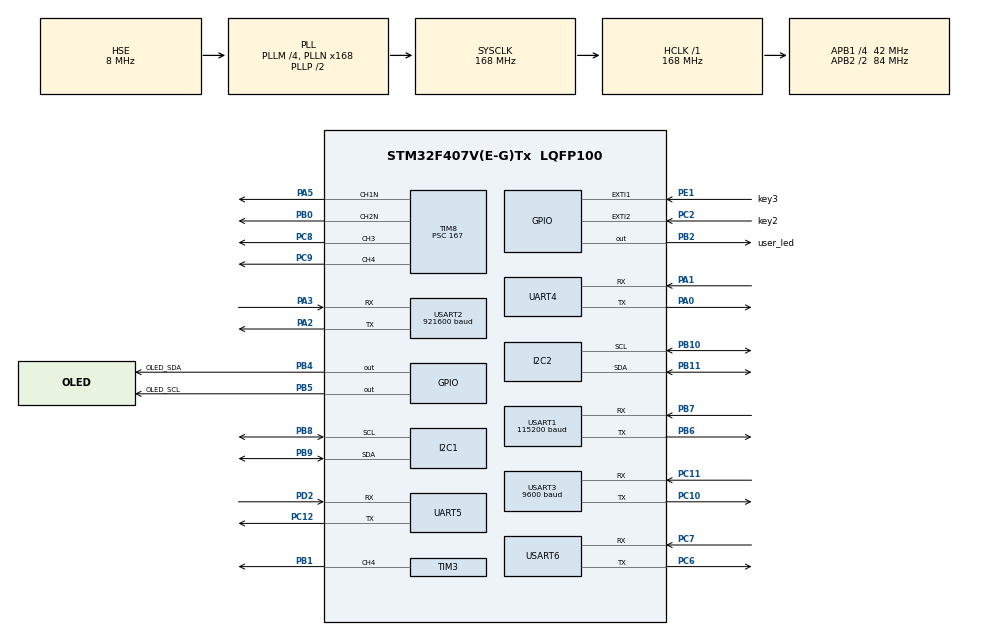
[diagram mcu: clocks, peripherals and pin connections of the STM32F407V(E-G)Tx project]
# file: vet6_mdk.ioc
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Dma.Request0=UART5_RX
Dma.Request1=USART2_TX
Dma.UART5_RX.0.Direction=DMA_PERIPH_TO_MEMORY
Dma.UART5_RX.0.FIFOMode=DMA_FIFOMODE_DISABLE
Dma.UART5_RX.0.Instance=DMA1_Stream0
Dma.UART5_RX.0.MemDataAlignment=DMA_MDATAALIGN_BYTE
Dma.UART5_RX.0.MemInc=DMA_MINC_ENABLE
Dma.UART5_RX.0.Mode=DMA_CIRCULAR
Dma.UART5_RX.0.PeriphDataAlignment=DMA_PDATAALIGN_BYTE
Dma.UART5_RX.0.PeriphInc=DMA_PINC_DISABLE
Dma.UART5_RX.0.Priority=DMA_PRIORITY_MEDIUM
Dma.USART2_TX.1.Direction=DMA_MEMORY_TO_PERIPH
Dma.USART2_TX.1.FIFOMode=DMA_FIFOMODE_DISABLE
Dma.USART2_TX.1.Instance=DMA1_Stream6
Dma.USART2_TX.1.MemDataAlignment=DMA_MDATAALIGN_BYTE
Dma.USART2_TX.1.MemInc=DMA_MINC_ENABLE
Dma.USART2_TX.1.Mode=DMA_NORMAL
Dma.USART2_TX.1.PeriphDataAlignment=DMA_PDATAALIGN_BYTE
Dma.USART2_TX.1.PeriphInc=DMA_PINC_DISABLE
Dma.USART2_TX.1.Priority=DMA_PRIORITY_HIGH
FREERTOS.Mutexes01=usart2TX,Dynamic,NULL,Available;duojiI2c,Dynamic,NULL,Available
FREERTOS.Tasks01=defaultTask,24,128,StartDefaultTask,Default,NULL,Dynamic,NULL,NULL;myTask02,20,256,StartTask02,Default,NULL,Dynamic,NULL,NULL;myTask03,21,256,StartTask03,Default,NULL,Dynamic,NULL,NULL;myTask04,22,256,StartTask04,Default,NULL,Dynamic,NULL,NULL;myTask05,24,256,StartTask05,Default,NULL,Dynamic,NULL,NULL;myTask06,25,256,StartTask06,Default,NULL,Dynamic,NULL,NULL;myTask07,25,256,StartTask07,Default,NULL,Dynamic,NULL,NULL
FREERTOS.configENABLE_FPU=1
FREERTOS.configTOTAL_HEAP_SIZE=20480
FREERTOS.configUSE_IDLE_HOOK=0
FREERTOS.configUSE_TICKLESS_IDLE=0
FREERTOS.configUSE_TICK_HOOK=1
Mcu.Family=STM32F4
Mcu.Name=STM32F407V(E-G)Tx
Mcu.Package=LQFP100
NVIC.DMA1_Stream0_IRQn=true\:5\:0\:false\:false\:true\:true\:false\:true\:true
NVIC.DMA1_Stream6_IRQn=true\:5\:0\:false\:false\:true\:true\:false\:true\:true
NVIC.EXTI1_IRQn=true\:5\:0\:false\:false\:true\:true\:true\:true\:true
NVIC.EXTI2_IRQn=true\:5\:0\:false\:false\:true\:true\:true\:true\:true
NVIC.PVD_IRQn=true\:5\:0\:false\:false\:true\:true\:true\:true\:true
NVIC.PriorityGroup=NVIC_PRIORITYGROUP_4
NVIC.TIM6_DAC_IRQn=true\:15\:0\:true\:false\:true\:false\:false\:true\:true
NVIC.TimeBase=TIM6_DAC_IRQn
NVIC.TimeBaseIP=TIM6
NVIC.UART4_IRQn=true\:6\:0\:true\:false\:true\:true\:true\:true\:true
NVIC.UART5_IRQn=true\:6\:0\:true\:false\:true\:true\:true\:true\:true
NVIC.USART1_IRQn=true\:6\:0\:true\:false\:true\:true\:true\:true\:true
NVIC.USART2_IRQn=true\:6\:0\:true\:false\:true\:true\:true\:true\:true
NVIC.USART3_IRQn=true\:6\:0\:true\:false\:true\:true\:true\:true\:true
NVIC.USART6_IRQn=true\:5\:0\:false\:false\:true\:true\:true\:true\:true
PA0-WKUP.Mode=Asynchronous
PA0-WKUP.Signal=UART4_TX
PA1.Mode=Asynchronous
PA1.Signal=UART4_RX
PA13.Mode=Serial_Wire
PA13.Signal=SYS_JTMS-SWDIO
PA14.Mode=Serial_Wire
PA14.Signal=SYS_JTCK-SWCLK
PA2.Mode=Asynchronous
PA2.Signal=USART2_TX
PA3.Mode=Asynchronous
PA3.Signal=USART2_RX
PA5.Mode=PWM Generation1 CH1N
PA5.Signal=TIM8_CH1N
PB0.Mode=PWM Generation2 CH2N
PB0.Signal=TIM8_CH2N
PB1.Signal=S_TIM3_CH4
PB10.Mode=I2C
PB10.Signal=I2C2_SCL
PB11.Mode=I2C
PB11.Signal=I2C2_SDA
PB2.GPIO_Label=user_led
PB2.GPIO_PuPd=GPIO_PULLUP
PB2.GPIO_Speed=GPIO_SPEED_FREQ_LOW
PB2.PinState=GPIO_PIN_SET
PB2.Signal=GPIO_Output
PB4.GPIO_Label=OLED_SDA
PB4.GPIO_ModeDefaultOutputPP=GPIO_MODE_OUTPUT_OD
PB4.GPIO_PuPd=GPIO_PULLUP
PB4.GPIO_Speed=GPIO_SPEED_FREQ_LOW
PB4.PinState=GPIO_PIN_SET
PB4.Signal=GPIO_Output
PB5.GPIO_Label=OLED_SCL
PB5.GPIO_ModeDefaultOutputPP=GPIO_MODE_OUTPUT_OD
PB5.GPIO_PuPd=GPIO_PULLUP
PB5.GPIO_Speed=GPIO_SPEED_FREQ_LOW
PB5.PinState=GPIO_PIN_SET
PB5.Signal=GPIO_Output
PB6.Mode=Asynchronous
PB6.Signal=USART1_TX
PB7.Mode=Asynchronous
PB7.Signal=USART1_RX
PB8.Mode=I2C
PB8.Signal=I2C1_SCL
PB9.Mode=I2C
PB9.Signal=I2C1_SDA
PC10.Mode=Asynchronous
PC10.Signal=USART3_TX
PC11.Mode=Asynchronous
PC11.Signal=USART3_RX
PC12.Mode=Asynchronous
PC12.Signal=UART5_TX
PC2.GPIO_Label=key2
PC2.GPIO_ModeDefaultEXTI=GPIO_MODE_IT_FALLING
PC2.Signal=GPXTI2
PC6.Mode=Asynchronous
PC6.Signal=USART6_TX
PC7.Mode=Asynchronous
PC7.Signal=USART6_RX
PC8.Signal=S_TIM8_CH3
PC9.Signal=S_TIM8_CH4
PD2.Mode=Asynchronous
PD2.Signal=UART5_RX
PE1.GPIO_Label=key3
PE1.GPIO_ModeDefaultEXTI=GPIO_MODE_IT_FALLING
PE1.Signal=GPXTI1
PH0-OSC_IN.Mode=HSE-External-Oscillator
PH0-OSC_IN.Signal=RCC_OSC_IN
PH1-OSC_OUT.Mode=HSE-External-Oscillator
PH1-OSC_OUT.Signal=RCC_OSC_OUT
ProjectManager.HeapSize=0x200
ProjectManager.StackSize=0x400
ProjectManager.TargetToolchain=MDK-ARM V5.27
RCC.48MHZClocksFreq_Value=84000000
RCC.AHBFreq_Value=168000000
RCC.APB1CLKDivider=RCC_HCLK_DIV4
RCC.APB1Freq_Value=42000000
RCC.APB1TimFreq_Value=84000000
RCC.APB2CLKDivider=RCC_HCLK_DIV2
RCC.APB2Freq_Value=84000000
RCC.APB2TimFreq_Value=168000000
RCC.CortexFreq_Value=168000000
RCC.HCLKFreq_Value=168000000
RCC.HSE_VALUE=8000000
RCC.HSI_VALUE=16000000
RCC.LSE_VALUE=32768
RCC.PLLM=4
RCC.PLLN=168
RCC.PLLSourceVirtual=RCC_PLLSOURCE_HSE
RCC.SYSCLKFreq_VALUE=168000000
RCC.SYSCLKSource=RCC_SYSCLKSOURCE_PLLCLK
RCC.VCOOutputFreq_Value=336000000
SH.S_TIM3_CH4.0=TIM3_CH4,PWM Generation4 CH4
SH.S_TIM8_CH3.0=TIM8_CH3,PWM Generation3 CH3
SH.S_TIM8_CH4.0=TIM8_CH4,PWM Generation4 CH4
TIM3.Channel-PWM\ Generation4\ CH4=TIM_CHANNEL_4
TIM3.Period=19999
TIM3.Prescaler=167
TIM7.Period=9999
TIM7.Prescaler=83
TIM8.Channel-PWM\ Generation1\ CH1N=TIM_CHANNEL_1
TIM8.Channel-PWM\ Generation2\ CH2N=TIM_CHANNEL_2
TIM8.Channel-PWM\ Generation3\ CH3=TIM_CHANNEL_3
TIM8.Channel-PWM\ Generation4\ CH4=TIM_CHANNEL_4
TIM8.Prescaler=167
UART4.VirtualMode=Asynchronous
UART5.VirtualMode=Asynchronous
USART1.BaudRate=115200
USART1.VirtualMode=VM_ASYNC
USART2.BaudRate=921600
USART2.VirtualMode=VM_ASYNC
USART3.BaudRate=9600
USART3.VirtualMode=VM_ASYNC
USART6.VirtualMode=VM_ASYNC
VP_FREERTOS_VS_CMSIS_V2.Mode=CMSIS_V2
VP_SYS_VS_tim6.Mode=TIM6
VP_TIM7_VS_ClockSourceINT.Mode=Enable_Timer
board=custom

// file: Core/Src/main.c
/* USER CODE BEGIN Header */
/**
  ******************************************************************************
  * @file           : main.c
  * @brief          : Main program body
  ******************************************************************************
  * @attention
  *
  * Copyright (c) 2026 STMicroelectronics.
  * All rights reserved.
  *
  * This software is licensed under terms that can be found in the LICENSE file
  * in the root directory of this software component.
  * If no LICENSE file comes with this software, it is provided AS-IS.
  *
  ******************************************************************************
  */
/* USER CODE END Header */
#include "main.h"
#include "cmsis_os.h"
#include "dma.h"
#include "i2c.h"
#include "tim.h"
#include "usart.h"
#include "gpio.h"

/* USER CODE BEGIN Includes */
#include "tim.h"
#include "usart.h"
#include "gpio.h"
#include "hwt101_hal.h"
#include "oled.h"
#include "bujin.h"
#include "odometer.h"
#include "UpperCP.h"
#include "tof200f.h"
#include "navigation.h"
#include "voice.h"
#include "overroll.h"
#include "pca9685.h"
#include "app.h"
#include "UpperCP.h"
#include "vofa.h"
#include "tiancan.h"
#include "arms.h"
/* USER CODE END Includes */

/* USER CODE BEGIN PV */
    float roll, pitch, yaw;
    volatile uint8_t g_system_error = 0;  /* 异常标志：Tick Hook + 故障 Handler 共用 */
/* USER CODE END PV */

void SystemClock_Config(void);
void MX_FREERTOS_Init(void);
/* USER CODE BEGIN PFP */
State MyPos = STATE_idle;                /* 当前状态机节点 */

/* USER CODE END PFP */

int main(void)
{

  /* MCU Configuration--------------------------------------------------------*/

  /* Reset of all peripherals, Initializes the Flash interface and the Systick. */
  HAL_Init();

  /* Configure the system clock */
  SystemClock_Config();

  /* Initialize all configured peripherals */
  MX_GPIO_Init();
  MX_DMA_Init();
  MX_UART4_Init();
  MX_UART5_Init();
  MX_USART1_UART_Init();
  MX_USART2_UART_Init();
  MX_USART3_UART_Init();
  MX_TIM3_Init();
  MX_TIM7_Init();
  MX_TIM8_Init();
  MX_USART6_UART_Init();
  MX_I2C2_Init();
  MX_I2C1_Init();
  /* USER CODE BEGIN 2 */

  /* UART5 使用循环 DMA 接收 K230/上位机命令；未启动 DMA 时 arm:x; 不会进入 UpperCP_RX。 */
  UpperCP_UartDmaStart();
  Vofa_Printf("[BOOT] UART5 RX DMA %s, err=%lu\r\n",
              (UpperCP_GetUartErrorCount() == 0U) ? "ON" : "FAIL",
              (unsigned long)UpperCP_GetUartErrorCount());

  /* ================= 1. 舵机驱动初始化 (PCA9685) ================= */
 if (PCA9685_Init() != 0)
 {
   Error_Handler(); /* 舵机驱动芯片初始化失败，进入异常处理 */
 }
 PCA9685_ResetAllToZero();  /* 上电归零：ch0=270°舵机 / ch1~15=180°舵机 */
 HAL_Delay(100U);           /* 延时 100ms 确保舵机转动到初始零位 */

 /* ================= 2. 显示屏与传感器初始化 ================= */
 if (OLED_Init() != OLED_OK)
 {
   g_system_error = 1U;
 }
  TOF200F_Init();            /* 初始化后置 USART1/地址1 与前置 USART6/地址2 TOF200F 接收 */

  /* ================= 3. 姿态传感器初始化 (HWT101) ================= */
  HWT101_HAL_Init();         /* 初始化 HWT101 陀螺仪/姿态传感器 */
  g_hwt101_data_ready = 0;   /* 重置数据准备就绪标志位 */

  uint32_t hwt_wait_start = HAL_GetTick();
  /* 等待 HWT101 姿态数据完成首次采集（超时时间 1000ms） */
  while (g_hwt101_data_ready == 0 && (HAL_GetTick() - hwt_wait_start) < 1000)
  {
  }

  /* ================= 4. 导航定位与里程计初始化 ================= */
  /* 使用 HWT101 获取到的初始航向角 (g_hwt101_yaw) 以及设定好的地图起始坐标重置导航 */
  Navigation_Reset(NAV_START_CENTER_X_MM, NAV_START_CENTER_Y_MM, g_hwt101_yaw);
  Odometer_Init();           /* 初始化编码器里程计 */

  /* USER CODE END 2 */

  /* Init scheduler */
  osKernelInitialize();  /* Call init function for freertos objects (in cmsis_os2.c) */
  MX_FREERTOS_Init();

  /* Start scheduler */
  osKernelStart();

  /* We should never get here as control is now taken by the scheduler */

  /* Infinite loop */
  while (1)
  {

  }
}

void SystemClock_Config(void)
{
  RCC_OscInitTypeDef RCC_OscInitStruct = {0};
  RCC_ClkInitTypeDef RCC_ClkInitStruct = {0};

  /** Configure the main internal regulator output voltage
  */
  __HAL_RCC_PWR_CLK_ENABLE();
  __HAL_PWR_VOLTAGESCALING_CONFIG(PWR_REGULATOR_VOLTAGE_SCALE1);

  /** Initializes the RCC Oscillators according to the specified parameters
  * in the RCC_OscInitTypeDef structure.
  */
  RCC_OscInitStruct.OscillatorType = RCC_OSCILLATORTYPE_HSE;
  RCC_OscInitStruct.HSEState = RCC_HSE_ON;
  RCC_OscInitStruct.PLL.PLLState = RCC_PLL_ON;
  RCC_OscInitStruct.PLL.PLLSource = RCC_PLLSOURCE_HSE;
  RCC_OscInitStruct.PLL.PLLM = 4;
  RCC_OscInitStruct.PLL.PLLN = 168;
  RCC_OscInitStruct.PLL.PLLP = RCC_PLLP_DIV2;
  RCC_OscInitStruct.PLL.PLLQ = 4;
  if (HAL_RCC_OscConfig(&RCC_OscInitStruct) != HAL_OK)
  {
    Error_Handler();
  }

  /** Initializes the CPU, AHB and APB buses clocks
  */
  RCC_ClkInitStruct.ClockType = RCC_CLOCKTYPE_HCLK|RCC_CLOCKTYPE_SYSCLK
                              |RCC_CLOCKTYPE_PCLK1|RCC_CLOCKTYPE_PCLK2;
  RCC_ClkInitStruct.SYSCLKSource = RCC_SYSCLKSOURCE_PLLCLK;
  RCC_ClkInitStruct.AHBCLKDivider = RCC_SYSCLK_DIV1;
  RCC_ClkInitStruct.APB1CLKDivider = RCC_HCLK_DIV4;
  RCC_ClkInitStruct.APB2CLKDivider = RCC_HCLK_DIV2;

  if (HAL_RCC_ClockConfig(&RCC_ClkInitStruct, FLASH_LATENCY_5) != HAL_OK)
  {
    Error_Handler();
  }
}

void HAL_TIM_PeriodElapsedCallback(TIM_HandleTypeDef *htim)
{
  if (htim->Instance == TIM6)
  {
    HAL_IncTick();
  }
}

void Error_Handler(void)
{
  __disable_irq();
  while (1)
  {
  }
}

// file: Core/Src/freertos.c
/* USER CODE BEGIN Header */
/**
  ******************************************************************************
  * File Name          : freertos.c
  * Description        : Code for freertos applications
  ******************************************************************************
  * @attention
  *
  * Copyright (c) 2026 STMicroelectronics.
  * All rights reserved.
  *
  * This software is licensed under terms that can be found in the LICENSE file
  * in the root directory of this software component.
  * If no LICENSE file comes with this software, it is provided AS-IS.
  *
  ******************************************************************************
  */
/* USER CODE END Header */

#include "FreeRTOS.h"
#include "task.h"
#include "main.h"
#include "cmsis_os.h"

/* USER CODE BEGIN Includes */
#include "tim.h"
#include "usart.h"
#include "gpio.h"
#include "hwt101_hal.h"
#include "oled.h"
#include "bujin.h"
#include "odometer.h"
#include "tof200f.h"
#include "navigation.h"
#include "voice.h"
#include "overroll.h"
#include "pca9685.h"
#include "app.h"
#include "UpperCP.h"
#include "vofa.h"
#include "tiancan.h"
#include "arms.h"
#include "action_scheduler.h"
#include "key.h"
/* USER CODE END Includes */

/* Definitions for defaultTask */
osThreadId_t defaultTaskHandle;
const osThreadAttr_t defaultTask_attributes = {
  .name = "defaultTask",
  .stack_size = 128 * 4,
  .priority = (osPriority_t) osPriorityNormal,
};
/* Definitions for myTask02 */
osThreadId_t myTask02Handle;
const osThreadAttr_t myTask02_attributes = {
  .name = "myTask02",
  .stack_size = 256 * 4,
  .priority = (osPriority_t) osPriorityBelowNormal4,
};
/* Definitions for myTask03 */
osThreadId_t myTask03Handle;
const osThreadAttr_t myTask03_attributes = {
  .name = "myTask03",
  .stack_size = 256 * 4,
  .priority = (osPriority_t) osPriorityBelowNormal5,
};
/* Definitions for myTask04 */
osThreadId_t myTask04Handle;
const osThreadAttr_t myTask04_attributes = {
  .name = "myTask04",
  .stack_size = 256 * 4,
  .priority = (osPriority_t) osPriorityBelowNormal6,
};
/* Definitions for myTask05 */
osThreadId_t myTask05Handle;
const osThreadAttr_t myTask05_attributes = {
  .name = "myTask05",
  .stack_size = 256 * 4,
  .priority = (osPriority_t) osPriorityNormal,
};
/* Definitions for myTask06 */
osThreadId_t myTask06Handle;
const osThreadAttr_t myTask06_attributes = {
  .name = "myTask06",
  .stack_size = 256 * 4,
  .priority = (osPriority_t) osPriorityNormal1,
};
/* Definitions for myTask07 */
osThreadId_t myTask07Handle;
const osThreadAttr_t myTask07_attributes = {
  .name = "myTask07",
  .stack_size = 256 * 4,
  .priority = (osPriority_t) osPriorityNormal1,
};
/* Definitions for usart2TX */
osMutexId_t usart2TXHandle;
const osMutexAttr_t usart2TX_attributes = {
  .name = "usart2TX"
};
/* Definitions for duojiI2c */
osMutexId_t duojiI2cHandle;
const osMutexAttr_t duojiI2c_attributes = {
  .name = "duojiI2c"
};

void StartDefaultTask(void *argument);
void StartTask02(void *argument);
void StartTask03(void *argument);
void StartTask04(void *argument);
void StartTask05(void *argument);
void StartTask06(void *argument);
void StartTask07(void *argument);

void MX_FREERTOS_Init(void); /* (MISRA C 2004 rule 8.1) */

/* Hook prototypes */
void vApplicationTickHook(void);

void MX_FREERTOS_Init(void) {
  /* USER CODE BEGIN Init */
  /* 仅复位软件状态；此时调度器和外设任务均尚未开始运行。 */
  App_Init();
  ActionScheduler_Init();
  /* USER CODE END Init */
  /* Create the mutex(es) */
  /* creation of usart2TX */
  usart2TXHandle = osMutexNew(&usart2TX_attributes);

  /* creation of duojiI2c */
  duojiI2cHandle = osMutexNew(&duojiI2c_attributes);

  /* Create the thread(s) */
  /* creation of defaultTask */
  defaultTaskHandle = osThreadNew(StartDefaultTask, NULL, &defaultTask_attributes);

  /* creation of myTask02 */
  myTask02Handle = osThreadNew(StartTask02, NULL, &myTask02_attributes);

  /* creation of myTask03 */
  myTask03Handle = osThreadNew(StartTask03, NULL, &myTask03_attributes);

  /* creation of myTask04 */
  myTask04Handle = osThreadNew(StartTask04, NULL, &myTask04_attributes);

  /* creation of myTask05 */
  myTask05Handle = osThreadNew(StartTask05, NULL, &myTask05_attributes);

  /* creation of myTask06 */
  myTask06Handle = osThreadNew(StartTask06, NULL, &myTask06_attributes);

  /* creation of myTask07 */
  myTask07Handle = osThreadNew(StartTask07, NULL, &myTask07_attributes);

}

/* USER CODE BEGIN Header_StartDefaultTask */
/**
  * @brief  Function implementing the defaultTask thread.
  *         优先级: osPriorityNormal (正常优先级)
  *         功能: 系统初始化与基础移动控制任务
  * @param  argument: Not used
  * @retval None
  */
/* USER CODE END Header_StartDefaultTask */
void StartDefaultTask(void *argument)
{
  /* USER CODE BEGIN StartDefaultTask */
      osDelay(1000);

      /* 使能四轮驱动电机，snF=true 等待同步触发 */
      Emm_V5_En_Control(1, true, true);
      Emm_V5_En_Control(2, true, true);
      Emm_V5_En_Control(3, true, true);
      Emm_V5_En_Control(4, true, true);
      Emm_V5_En_Control(5, true, true);
      Emm_V5_Synchronous_motion(0);
      Navigation_Stop();
      vTaskDelay(pdMS_TO_TICKS(2000U));

  for(;;)
  {
     g_robot_pos.yaw = Get_zeroYaw();
     vTaskDelay(pdMS_TO_TICKS(50));
  }
  /* USER CODE END StartDefaultTask */
}

/* USER CODE BEGIN Header_StartTask02 */
/**
* @brief Function implementing the myTask02 thread.
*        优先级: osPriorityBelowNormal4 (低于正常优先级 4)
*        功能: 天蚕/天灿传感器及传感器数据处理任务
* @param argument: Not used
* @retval None
*/
/* USER CODE END Header_StartTask02 */
void StartTask02(void *argument)
{
  /* USER CODE BEGIN StartTask02 */
  /* Infinite loop */
  static uint32_t oled_last_refresh = 0;
         osDelay(500);
  for(;;)
  {
    if ((OLED_IsReady() != 0U) && ((HAL_GetTick() - oled_last_refresh) >= 500U))
    {
      oled_last_refresh = HAL_GetTick();
      oled_print(0, 0, 16, "X=%.0f Y=%.0f", g_robot_pos.x, g_robot_pos.y);
      oled_print(0, 2, 16, "yaw=%.2f", g_robot_pos.yaw);
      oled_print(0, 4, 16, "Ftof=%.2f", FrontTofData / 10.0f);
      oled_print(0, 6, 16, "tof=%.2f", TofData / 10.0f );
      {
        // float vofa_data[5] = {
        //   g_robot_pos.x,
        //   g_robot_pos.y,
        //   g_robot_pos.yaw,
        //   (*anglepid.target) * 180.0f / 3.1415926f,
        //   PCA9685_Get180Angle(6U)
        // };
        // Vofa_SendFirewater(vofa_data, 5);
      }
    }
    // Tiancan_Process();
    osDelay(100);

  }
  /* USER CODE END StartTask02 */
}

/* USER CODE BEGIN Header_StartTask03 */
/**
* @brief Function implementing the myTask03 thread.
*        优先级: osPriorityBelowNormal5 (低于正常优先级 5)
*        功能: 航向角获取与里程计位置姿态解算更新任务
* @param argument: Not used
* @retval None
*/
/* USER CODE END Header_StartTask03 */
void StartTask03(void *argument)
{
  /* USER CODE BEGIN StartTask03 */
       osDelay(500);
  /* Infinite loop */
  for(;;)
  {
     Odometer_Update();
     vTaskDelay(pdMS_TO_TICKS(50));
  }
  /* USER CODE END StartTask03 */
}

/* USER CODE BEGIN Header_StartTask04 */
/**
* @brief Function implementing the myTask04 thread.
*        优先级: osPriorityBelowNormal6 (低于正常优先级 6)
*        功能: 保留任务（应用逻辑已迁移到 StartTask07）
* @param argument: Not used
* @retval None
*/
/* USER CODE END Header_StartTask04 */
void StartTask04(void *argument)
{
  /* USER CODE BEGIN StartTask04 */
  /* 保留任务，启动后自删除 */
  osDelay(500);
  vTaskDelete(NULL);
  /* USER CODE END StartTask04 */
}

/* USER CODE BEGIN Header_StartTask05 */
/**
* @brief Function implementing the myTask05 thread.
*        优先级: osPriorityBelowNormal7 (低于正常优先级 7)
*        功能: 上位机串口通信接收处理任务
* @param argument: Not used
* @retval None
*/
/* USER CODE END Header_StartTask05 */
void StartTask05(void *argument)
{
  /* USER CODE BEGIN StartTask05 */
    osDelay(200);
    HAL_GPIO_WritePin(GPIOB, GPIO_PIN_2, GPIO_PIN_RESET);
//      Chassis_SetSpeed(0.0f,0.2f);
  /* Infinite loop */
  for(;;)
  {
    UpperCP_RX();
    vTaskDelay(pdMS_TO_TICKS(10));
  }
  /* USER CODE END StartTask05 */
}

/* USER CODE BEGIN Header_StartTask06 */
/**
* @brief Function implementing the myTask06 thread.
*        优先级: osPriorityNormal (正常优先级)
*        功能: 底盘导航控制与路径跟踪计算任务 (10ms Tick)
* @param argument: Not used
* @retval None
*/
/* USER CODE END Header_StartTask06 */
void StartTask06(void *argument)
{
  /* USER CODE BEGIN StartTask06 */
  /* Infinite loop */
  for(;;)
  {
      Navigation_TaskTick();
      vTaskDelay(pdMS_TO_TICKS(10));
  }
  /* USER CODE END StartTask06 */
}

/* USER CODE BEGIN Header_StartTask07 */
/**
* @brief Function implementing the myTask07 thread.
*        优先级: osPriorityNormal1 (高于正常优先级 1)
*        功能: 路线、抓取与云台非阻塞状态机（20ms Tick）
* @param argument: Not used
* @retval None
*/
/* USER CODE END Header_StartTask07 */
void StartTask07(void *argument)
{
  /* USER CODE BEGIN StartTask07 */
  TickType_t xLastWakeTime;
  const TickType_t xFrequency = pdMS_TO_TICKS(15);

  /* 获取当前的系统节拍作为初始唤醒时间 */
  xLastWakeTime = xTaskGetTickCount();

  for(;;)
  {
    /* 两个状态机均为单步推进；15ms 是严格的动作时间基准，不得在其中阻塞。 */
    App_RunCurrentMode();
    ActionScheduler_Tick();

    /* 使用绝对延时替代相对延时，消除任务执行耗时和抢占带来的抖动 */
    vTaskDelayUntil(&xLastWakeTime, xFrequency);
  }
  /* USER CODE END StartTask07 */
}

/* USER CODE BEGIN Application */

/**
  * @brief  FreeRTOS Tick Hook — 双层 LED 心跳
  *         - g_system_error == 0: 500Hz 翻转（示波器可见，人眼常亮）
  *         - g_system_error != 0: 2Hz 翻转（人眼可见闪烁 ≈ 每 250ms 切换一次）
  * @note   必须在 tick ISR 中快速返回，禁止调用阻塞 API
  */
void vApplicationTickHook(void)
{
    static uint32_t tick_count = 0;
    tick_count++;

    if (g_system_error != 0U)
    {
        /* 异常模式：每 250ms 翻转 → 2Hz 人眼可见闪烁 */
        if ((tick_count % 250U) == 0U)
        {
            HAL_GPIO_TogglePin(GPIOB, GPIO_PIN_2);
        }
    }
}

/* USER CODE END Application */
